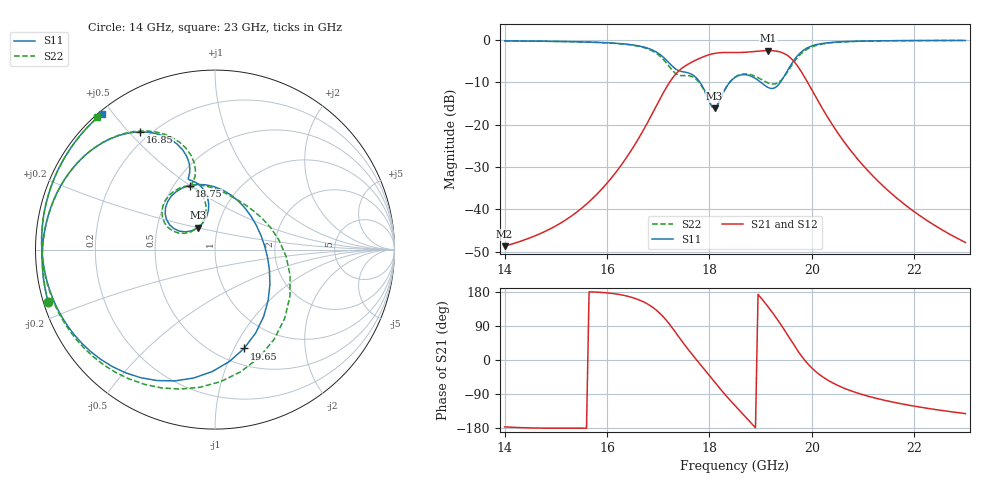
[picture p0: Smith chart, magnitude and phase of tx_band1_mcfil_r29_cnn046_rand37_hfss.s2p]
! Touchstone file exported from HFSS 3D Layout Design 2026.1.0
!  File:  D:/Work/SIM/ADS_AUTO_SIM/projects/RFSOC_RF/TX_Fillter.aedt
!  Generated:  02:22:38 AM Aug 31, 2026
!  Design:  TX_BAND1_MCFIL_R29_CNN046
!  Project:  TX_Fillter
# GHz S MA R 50.000000
! Terminal data exported
! Port[1] = Port1
! Port[2] = Port2
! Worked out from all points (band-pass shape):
!   181 points, 14 GHz to 23 GHz, reference 50 ohm
!   highest |S21| = -2.52 dB at 19.15 GHz (marker M1); lowest = -48.7 dB at 14 GHz (marker M2)
!   |S21| within 3 dB of the highest: 17.61 GHz to 19.68 GHz (2.067 GHz wide, 11.1 % of centre)
!   lowest |S11| = -16.2 dB at 18.1 GHz (marker M3), VSWR 1.37, Z = 40.1 + j10 ohm
!   |S11| at or under -10 dB: 17.81 GHz to 18.4 GHz (582.5 MHz wide, 3.22 % of centre); 19 GHz to 19.39 GHz (382.9 MHz wide, 1.99 % of centre)
!   |S22| runs from -16.2 to -0.1 dB; largest |S21 - S12| = 5.5e-15
!   S11 on the Smith chart (normalised r, x): 14 GHz: 0.01, -0.15; 16.85 GHz: 0.16, +0.54; 18.75 GHz: 0.60, +0.50; 19.65 GHz: 0.67, -1.10; 23 GHz: 0.01, +0.47
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14  0.974 -162.4  0.003681 -176.5  0.003681 -176.5  0.9735 -162.4
15.5  0.948 168.1  0.01027 -179.8  0.01027 -179.8  0.9463 167.4
16.25  0.9053 147.5  0.03158 172.7  0.03158 172.7  0.9005 146.0
16.85  0.7764 122.4  0.1231 142.9  0.1231 142.9  0.7588 119.4
17  0.6963 114.5  0.1832 127.3  0.1832 127.3  0.6694 111.0
17.2  0.5446 106.9  0.3016 98.0  0.3016 98.0  0.4987 103.5
17.5  0.4187 110.7  0.4806 43.0  0.4806 43.0  0.3789 113.7
17.8  0.3262 99.7  0.6028 -8.1  0.6028 -8.1  0.3153 103.5
18.1  0.1551 128.2  0.6927 -58.0  0.6927 -58.0  0.1557 131.6
18.3  0.2577 152.9  0.7103 -90.3  0.7103 -90.3  0.2582 156.2
18.5  0.3611 139.8  0.7097 -120.4  0.7097 -120.4  0.3637 144.4
18.75  0.3842 111.7  0.7182 -156.6  0.7182 -156.6  0.3953 120.2
18.95  0.3342 82.5  0.7363 173.1  0.7363 173.1  0.3583 98.4
19.15  0.2735 42.7  0.7484 139.8  0.7484 139.8  0.3099 72.4
19.4  0.3248 -20.8  0.7148 92.5  0.7148 92.5  0.3336 21.3
19.65  0.5742 -73.6  0.5587 39.7  0.5587 39.7  0.5456 -44.7
19.8  0.7252 -99.4  0.4175 10.2  0.4175 10.2  0.6956 -78.1
20  0.8482 -126.0  0.2576 -21.0  0.2576 -21.0  0.8265 -111.2
20.25  0.9162 -148.7  0.1401 -48.0  0.1401 -48.0  0.9033 -138.6
20.55  0.9493 -167.0  0.07339 -69.8  0.07339 -69.8  0.9422 -159.9
21.5  0.9781 159.7  0.01647 -108.7  0.01647 -108.7  0.9766 163.2
23  0.9852 129.7  0.004074 -141.5  0.004074 -141.5  0.985 131.7
